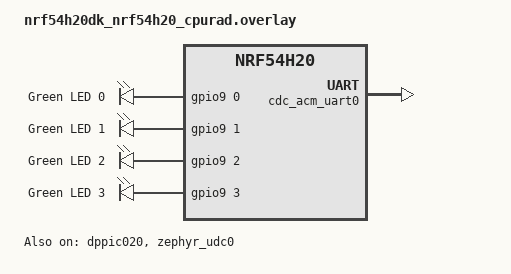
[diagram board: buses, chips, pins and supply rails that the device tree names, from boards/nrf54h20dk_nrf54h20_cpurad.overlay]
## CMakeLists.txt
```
#
# Copyright (c) 2018 Nordic Semiconductor
#
# SPDX-License-Identifier: LicenseRef-Nordic-5-Clause
#
cmake_minimum_required(VERSION 3.20.0)

find_package(Zephyr REQUIRED HINTS $ENV{ZEPHYR_BASE})
project(esb_ptx_dongle)

# NORDIC SDK APP START
target_sources(app PRIVATE
  src/main.c
  src/esb_ptx.c
  src/usb.c
)
# NORDIC SDK APP END
```

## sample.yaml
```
sample:
  name: ESB ptx Sample
common:
  harness: console
  harness_config:
    type: multi_line
    ordered: true
    regex:
      - 'Enhanced ShockBurst ptx sample'
      - 'Initialization complete'
      - 'Sending test packet'
  timeout: 15

tests:
  sample.esb.ptx:
    sysbuild: true
    filter: CONFIG_UART_CONSOLE and CONFIG_SERIAL_SUPPORT_INTERRUPT
    integration_platforms:
      - nrf52dk/nrf52832
      - nrf52840dk/nrf52840
      - nrf52dk/nrf52810
    platform_allow:
      - nrf52dk/nrf52832
      - nrf52840dk/nrf52840
      - nrf52dk/nrf52810
    tags:
      - esb
      - samples
      - console
      - sysbuild
      - ci_samples_esb
  sample.esb.ptx.build:
    sysbuild: true
    integration_platforms:
      - nrf21540dk/nrf52840
      - nrf52833dk/nrf52833
      - nrf52840dk/nrf52840
      - nrf52dk/nrf52810
      - nrf52dk/nrf52832
      - nrf5340dk/nrf5340/cpunet
      - nrf54h20dk/nrf54h20/cpurad
      - nrf54l15dk/nrf54l05/cpuapp
      - nrf54l15dk/nrf54l10/cpuapp
      - nrf54l15dk/nrf54l15/cpuapp
      - nrf54lm20dk/nrf54lm20a/cpuapp
      - nrf54lv10dk/nrf54lv10a/cpuapp
    platform_allow:
      - nrf21540dk/nrf52840
      - nrf52833dk/nrf52833
      - nrf52840dk/nrf52840
      - nrf52dk/nrf52810
      - nrf52dk/nrf52832
      - nrf5340dk/nrf5340/cpunet
      - nrf54h20dk/nrf54h20/cpurad
      - nrf54l15dk/nrf54l05/cpuapp
      - nrf54l15dk/nrf54l10/cpuapp
      - nrf54l15dk/nrf54l15/cpuapp
      - nrf54lm20dk/nrf54lm20a/cpuapp
      - nrf54ls05dk/nrf54ls05b/cpuapp
      - nrf54lv10dk/nrf54lv10a/cpuapp
      - nrf54lv10dk/nrf54lv10a/cpuapp/ns
    tags:
      - esb
      - ci_build
      - sysbuild
      - ci_samples_esb
  sample.esb.ptx.dynamic_irq:
    sysbuild: true
    extra_configs:
      - CONFIG_ESB_DYNAMIC_INTERRUPTS=y
      - CONFIG_DYNAMIC_INTERRUPTS=y
      - CONFIG_DYNAMIC_DIRECT_INTERRUPTS=y
      - CONFIG_MPSL_DYNAMIC_INTERRUPTS=y
    integration_platforms:
      - nrf5340dk/nrf5340/cpunet
      - nrf52840dk/nrf52840
      - nrf54l15dk/nrf54l15/cpuapp
      - nrf54h20dk/nrf54h20/cpurad
    platform_allow:
      - nrf5340dk/nrf5340/cpunet
      - nrf52840dk/nrf52840
      - nrf54l15dk/nrf54l15/cpuapp
      - nrf54h20dk/nrf54h20/cpurad
    tags:
      - esb
      - ci_build
      - sysbuild
      - ci_samples_esb
  sample.esb.ptx.nrf5340_nrf21540:
    sysbuild: true
    extra_args: SHIELD=nrf21540ek
    integration_platforms:
      - nrf5340dk/nrf5340/cpunet
    platform_allow:
      - nrf5340dk/nrf5340/cpunet
    tags:
      - esb
      - ci_build
      - sysbuild
      - ci_samples_esb
  sample.esb.ptx.fast_switching:
    sysbuild: true
    extra_configs:
      - CONFIG_ESB_FAST_SWITCHING=y
      - CONFIG_ESB_FAST_CHANNEL_SWITCHING=y
    integration_platforms:
      - nrf54h20dk/nrf54h20/cpurad
    platform_allow:
      - nrf54h20dk/nrf54h20/cpurad
    tags:
      - esb
      - ci_build
      - sysbuild
      - ci_samples_esb
```

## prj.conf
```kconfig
#
# Copyright (c) 2019 Nordic Semiconductor ASA
#
# SPDX-License-Identifier: LicenseRef-Nordic-5-Clause
#
CONFIG_NCS_SAMPLES_DEFAULTS=y
# Logging
CONFIG_LOG=y
CONFIG_LOG_MODE_DEFERRED=y
#USB (new stack — required for nRF54H20)
CONFIG_USB_DEVICE_STACK_NEXT=y
CONFIG_USBD_CDC_ACM_CLASS=y
CONFIG_HWINFO=y
CONFIG_SERIAL=y
CONFIG_UART_INTERRUPT_DRIVEN=y
CONFIG_UART_LINE_CTRL=y
#ESB
CONFIG_ESB=y
CONFIG_DK_LIBRARY=y
CONFIG_CLOCK_CONTROL=y
# route console/log to USB CDC
CONFIG_CONSOLE=y
CONFIG_UART_CONSOLE=y

#multithreading
CONFIG_MULTITHREADING=y
CONFIG_MAIN_THREAD_PRIORITY=0

#FIFO ring
CONFIG_RING_BUFFER=y
```

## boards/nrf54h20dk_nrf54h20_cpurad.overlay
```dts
/*
 * Copyright (c) 2024 Nordic Semiconductor ASA
 *
 * SPDX-License-Identifier: LicenseRef-Nordic-5-Clause
 */

 / {
	chosen {
		zephyr,console = &cdc_acm_uart0;
	};

	leds {
		compatible = "gpio-leds";

		led0: led_0 {
			gpios = < &gpio9 0 GPIO_ACTIVE_HIGH >;
			label = "Green LED 0";
		};

		led1: led_1 {
			gpios = < &gpio9 1 GPIO_ACTIVE_HIGH >;
			label = "Green LED 1";
		};

		led2: led_2 {
			gpios = < &gpio9 2 GPIO_ACTIVE_HIGH >;
			label = "Green LED 2";
		};

		led3: led_3 {
			gpios = < &gpio9 3 GPIO_ACTIVE_HIGH >;
			label = "Green LED 3";
		};
	};

	aliases {
		led0 = &led0;
		led1 = &led1;
		led2 = &led2;
		led3 = &led3;
	};

	cpurad_cpusys_errata216_mboxes: errata216_mboxes {
		compatible = "zephyr,mbox-ipm";
		status = "okay";
		mboxes = < &cpusys_vevif 0x14 >, < &cpusys_vevif 0x15 >;
		mbox-names = "on_req", "off_req";
	};
};

&gpio9 {
	status = "okay";
};

&gpio0 {
	status = "okay";
};

&gpiote130 {
	owned-channels = <0 1 2 3 4 5 6 7>;
	status = "okay";
};

&dppic020 {
	status = "okay";
	source-channels = < 0 1 2 3 4 5 >;
	sink-channels = < 6 7 8 9 10 11 >;
};

&zephyr_udc0 {
	status = "okay";
	cdc_acm_uart0: cdc_acm_uart0 {
		compatible = "zephyr,cdc-acm-uart";
	};
};
```

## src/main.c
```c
#include <zephyr/kernel.h>
#include <zephyr/logging/log.h>

#include <zephyr/drivers/clock_control.h>
#include <zephyr/drivers/clock_control/nrf_clock_control.h>

#include <zephyr/drivers/gpio.h>
#include <zephyr/devicetree.h>
//usb
#include "usb.h"
//esb transmitter
#include "esb_ptx.h"
//ring buffer
#include <zephyr/sys/ring_buffer.h>
LOG_MODULE_REGISTER(app, CONFIG_LOG_DEFAULT_LEVEL);

//message buffer/will get replaced by being put into  payload directly later
#define MSG_MAX 128
static uint8_t msg_buf[MSG_MAX];
static size_t msg_len;

#define LED0_NODE DT_ALIAS(led0)

#if !DT_NODE_HAS_STATUS(LED0_NODE, okay)
#error "No led0 alias in devicetree. Check your board selection or add an overlay."
#endif
#define USB_RB_SIZE 512
RING_BUF_DECLARE(usb_rb, USB_RB_SIZE);

//Semaphore to signal USB data reception
static struct k_sem usb_rx_sem;

//allocate memory for USB RX thread stack
#define USB_RX_STACK_SIZE 1024
//USB RX thread priority
#define USB_RX_PRIORITY 5

//create a thread stack for USB RX thread
K_THREAD_STACK_DEFINE(usb_rx_stack, USB_RX_STACK_SIZE);
//thread for USB
static struct k_thread usb_rx_thread;

//LED GPIO vars and struct
static const struct gpio_dt_spec led0 = GPIO_DT_SPEC_GET(LED0_NODE, gpios);
static bool led0_state;

//Heartbeat LED initialization
static int led_debug_init(void)
{
	if (!device_is_ready(led0.port))
	{
		LOG_ERR("LED device not ready");
		return -ENODEV;
	}

	int err = gpio_pin_configure_dt(&led0, GPIO_OUTPUT_INACTIVE);
	if (err)
	{
		LOG_ERR("Failed to configure LED pin: %d", err);
		return err;
	}

	led0_state = false;
	return 0;
}
//Heartbeat LED toggling
static void led_debug_toggle(void)
{
	led0_state = !led0_state;
	(void)gpio_pin_set_dt(&led0, (int)led0_state);
}

//USB thread
static void usb_rx_thread_fn(void *a, void *b, void *c)
{
	ARG_UNUSED(a);
	ARG_UNUSED(b);
	ARG_UNUSED(c);

	uint8_t buf[64];

	while (1)
	{
		int n = usb_cdc_read(buf, sizeof(buf)); // your non-blocking fifo drain

		if (n > 0)
		{
			uint32_t wrote = ring_buf_put(&usb_rb, buf, (uint32_t)n);
			if (wrote > 0)
			{
				//indicate that a usb reception occured 
				k_sem_give(&usb_rx_sem);
			}

			if (wrote < (uint32_t)n)
			{
				//overflow(we wrote less to the ring buffer than we read from the USB connection)
			}
			continue;
		}

		/* Nothing received: yield CPU */
		k_sleep(K_MSEC(2));
	}
}

static void handle_message(const uint8_t *msg, size_t len)
{
	// echo the message for debugging
	uint8_t echo[5];

	echo[0] = msg[0];
	echo[1] = msg[1];
	echo[2] = msg[2];
	echo[3] = msg[3];
	echo[4] = '\n';

	usb_cdc_write(echo, 5);

	if (len == 4)
	{
		if(msg[0] > 255 || msg[1] > 255 || msg[2] > 255 || msg[3] > 255)
		{
			return;
		}
		struct esb_payload pl = esb_set_battlebot_payload(msg[0], msg[1], msg[2], msg[3]);
		int err = esb_radio_send(&pl);
		led_debug_toggle();

		if (err)
		{
		}
	}
}

static void usb_parse_available(void)
{
	uint8_t b;

	//do while the ring buffer has data
	while (ring_buf_get(&usb_rb, &b, 1) == 1)
	{
		//check for the end of message char 
		if (b == '\n' || b == '\r')
		{
			if (msg_len > 0)
			{
				handle_message(msg_buf, msg_len);
				msg_len = 0;
			}
			continue;
		}

		if (msg_len < MSG_MAX)
		{
			msg_buf[msg_len++] = b;
		}
		else
		{
			msg_len = 0;
			usb_cdc_write((const uint8_t *)"ERR: msg too long\r\n", 19);
		}
	}
}

//Clock initialization for nRF52840 required for ESB and USB
#if defined(CONFIG_CLOCK_CONTROL_NRF)
static int clocks_start(void)
{
	int err;
	int res;
	struct onoff_manager *clk_mgr;
	struct onoff_client clk_cli;

	clk_mgr = z_nrf_clock_control_get_onoff(CLOCK_CONTROL_NRF_SUBSYS_HF);
	if (!clk_mgr)
	{
		LOG_ERR("Unable to get the Clock manager");
		return -ENXIO;
	}

	sys_notify_init_spinwait(&clk_cli.notify);

	err = onoff_request(clk_mgr, &clk_cli);
	if (err < 0)
	{
		LOG_ERR("Clock request failed: %d", err);
		return err;
	}

	do
	{
		err = sys_notify_fetch_result(&clk_cli.notify, &res);
		if (!err && res)
		{
			LOG_ERR("Clock could not be started: %d", res);
			return res;
		}
	} while (err);

	//LOG_DBG("HF clock started");
	return 0;
}
#else
static int clocks_start(void) { return 0; }
#endif

int main(void)
{
	int err;

	//LOG_INF("ESB PTX + USB CDC (nRF52840 dongle)");

	err = clocks_start();
	if (err)
	{
		return 0;
	}

	err = led_debug_init();
	if (err)
	{
		return 0;
	}

	err = usb_cdc_init();
	if (err)
	{
		return 0;
	}
	
	err = esb_radio_init();
	if (err)
	{
		//LOG_ERR("ESB init failed: %d", err);
		return 0;
	}

	k_sem_init(&usb_rx_sem, 0, 1);

	k_thread_create(&usb_rx_thread, usb_rx_stack, USB_RX_STACK_SIZE,
					usb_rx_thread_fn, NULL, NULL, NULL,
					USB_RX_PRIORITY, 0, K_NO_WAIT);
	
	//LOG_INF("Init complete. Entering main loop.");

	uint8_t counter = 0;

	while (1)
	{
		if (esb_radio_ready())
		{
			struct esb_payload pl = {0};
			pl.pipe = 0;
			pl.length = 4;
			pl.noack = false;
			pl.data[0] = counter;
			pl.data[1] = counter + 1;
			pl.data[2] = counter + 2;
			pl.data[3] = counter + 3;

			led_debug_toggle();
			err = esb_radio_send(&pl);
			if (err)
			{
				LOG_ERR("esb send failed: %d", err);
			}
			else
			{
				counter++;
			}
		}
		k_sleep(K_MSEC(200));
	}
}
```

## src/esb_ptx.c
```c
#include "esb_ptx.h"

#include <zephyr/logging/log.h>
#include <zephyr/sys/util.h>

LOG_MODULE_REGISTER(esb_radio, CONFIG_ESB_PTX_APP_LOG_LEVEL);

static volatile bool g_ready = true;

static struct esb_payload rx_payload;

static void event_handler(struct esb_evt const *event)
{
    switch (event->evt_id)
    {
    case ESB_EVENT_TX_SUCCESS:
        g_ready = true;
        LOG_DBG("ESB TX success");
        break;

    case ESB_EVENT_TX_FAILED:
        g_ready = true;
        LOG_DBG("ESB TX failed");
        break;

    case ESB_EVENT_RX_RECEIVED:
        /* PTX usually only receives ACK payloads if enabled. */
        while (esb_read_rx_payload(&rx_payload) == 0)
        {
            LOG_DBG("ESB RX len %d: %02x %02x %02x %02x %02x %02x %02x %02x",
                    rx_payload.length,
                    rx_payload.data[0], rx_payload.data[1], rx_payload.data[2], rx_payload.data[3],
                    rx_payload.data[4], rx_payload.data[5], rx_payload.data[6], rx_payload.data[7]);
        }
        break;

    default:
        break;
    }
}

struct esb_payload esb_radio_default_payload(void)
{
    struct esb_payload pl = {0};

    pl.pipe = 0;
    pl.length = 4;
    pl.noack = false;

    pl.data[0] = 0x01;
    pl.data[1] = 0x00;
    pl.data[2] = 0x03;
    pl.data[3] = 0x04;

    return pl;
}

int esb_radio_init(void)
{
    int err;

    /* Default demo addresses (fine for bring-up; change for real products). */
    uint8_t base_addr_0[4] = {0x4E, 0x4F, 0x44, 0x45}; // "NODE"
    uint8_t base_addr_1[4] = {0xC2, 0xC2, 0xC2, 0xC2};
    uint8_t addr_prefix[8] = {0x31, 0xC2, 0xC3, 0xC4, 0xC5, 0xC6, 0xC7, 0xC8}; // 0x31 is ASCII 1 -> Full address is NODE1

    struct esb_config config = ESB_DEFAULT_CONFIG;

    config.protocol = ESB_PROTOCOL_ESB;
    config.retransmit_delay = 600;
    config.bitrate = ESB_BITRATE_1MBPS;
    config.event_handler = event_handler;
    config.mode = ESB_MODE_PTX;
    config.payload_length = 4;
    config.selective_auto_ack = false;
    esb_set_rf_channel(40);
    if (IS_ENABLED(CONFIG_ESB_FAST_SWITCHING))
    {
        config.use_fast_ramp_up = true;
    }

    err = esb_init(&config);
    if (err)
    {
        LOG_ERR("esb_init failed: %d", err);
        return err;
    }

    err = esb_set_base_address_0(base_addr_0);
    if (err)
    {
        LOG_ERR("set_base_address_0 failed: %d", err);
        return err;
    }

    err = esb_set_base_address_1(base_addr_1);
    if (err)
    {
        LOG_ERR("set_base_address_1 failed: %d", err);
        return err;
    }

    err = esb_set_prefixes(addr_prefix, ARRAY_SIZE(addr_prefix));
    if (err)
    {
        LOG_ERR("set_prefixes failed: %d", err);
        return err;
    }

    g_ready = true;
    LOG_INF("ESB radio initialized (PTX)");
    return 0;
}

bool esb_radio_ready(void)
{
    return g_ready;
}

int esb_radio_send(struct esb_payload *pl)
{
    int err = esb_write_payload(pl);
    if (err == 0)
    {
        g_ready = false; // only clear when queued successfully
    }
    return err;
}
```

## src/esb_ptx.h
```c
#pragma once

#include <zephyr/kernel.h>
#include <esb.h>

#ifdef __cplusplus
extern "C" {
#endif

/* Initialize ESB in PTX mode. Starts HFCLK if you call clocks_start() elsewhere. */
int esb_radio_init(void);

/* Returns true if radio is ready to accept a new TX payload (ACKed or failed). */
bool esb_radio_ready(void);

/* Write a payload. Nonblocking; completion via ESB events. */
int esb_radio_send(struct esb_payload *pl);

/* Convenience: create a default payload (your old pattern). */
struct esb_payload esb_radio_default_payload(void);

#ifdef __cplusplus
}
#endif
```

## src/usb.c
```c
#include "usb.h"

#include <zephyr/usb/usb_device.h>
#include <zephyr/drivers/uart.h>
#include <zephyr/logging/log.h>

LOG_MODULE_REGISTER(usb_cdc, CONFIG_LOG_DEFAULT_LEVEL);

#define CDC_DEV_NODE DT_CHOSEN(zephyr_console)

static const struct device *cdc_dev;


//USB initialization
int usb_cdc_init(void)
{
    int err;

    cdc_dev = DEVICE_DT_GET(CDC_DEV_NODE);
    if (!device_is_ready(cdc_dev))
    {
        //LOG_ERR("CDC ACM device not ready (check devicetree/console routing)");
        return -ENODEV;
    }

    err = usb_enable(NULL);
    if (err)
    {
       // LOG_ERR("usb_enable failed: %d", err);
        return err;
    }

   

    (void)uart_line_ctrl_set(cdc_dev, UART_LINE_CTRL_BAUD_RATE, 115200);

    //LOG_INF("USB CDC ACM ready");
    return 0;
}

//USB read
int usb_cdc_read(uint8_t *buf, size_t max_len)
{
    if (!cdc_dev || !buf || max_len == 0)
    {
        return 0;
    }

    int total = 0;
    while (total < (int)max_len)
    {
        uint8_t c;
        int r = uart_fifo_read(cdc_dev, &c, 1);
        if (r <= 0)
        {
            break;
        }
        buf[total++] = c;
    }
    return total;
}
//USB write
int usb_cdc_write(const uint8_t *buf, size_t len)
{
    if (!cdc_dev || !buf || len == 0)
    {
        return 0;
    }

    int sent = uart_fifo_fill(cdc_dev, buf, len);
    return sent;
}
```

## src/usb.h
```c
#pragma once

#include <zephyr/kernel.h>
#include <zephyr/device.h>

#ifdef __cplusplus
extern "C" {
#endif

int usb_cdc_init(void);

/* Non-blocking read: returns bytes read (0 if none) */
int usb_cdc_read(uint8_t *buf, size_t max_len);

/* Best-effort write */
int usb_cdc_write(const uint8_t *buf, size_t len);

#ifdef __cplusplus
}
#endif
```
